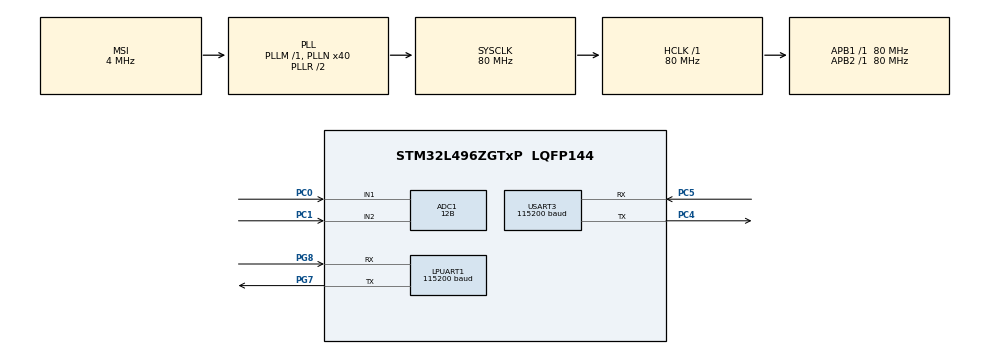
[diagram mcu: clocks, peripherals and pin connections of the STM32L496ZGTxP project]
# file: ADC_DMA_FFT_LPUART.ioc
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ADC1.Channel-0\#ChannelRegularConversion=ADC_CHANNEL_1
ADC1.Channel-1\#ChannelRegularConversion=ADC_CHANNEL_2
ADC1.ClockPrescaler=ADC_CLOCK_ASYNC_DIV1
ADC1.ContinuousConvMode=ENABLE
ADC1.DMAContinuousRequests=ENABLE
ADC1.DataAlign=ADC_DATAALIGN_RIGHT
ADC1.DiscontinuousConvMode=DISABLE
ADC1.EOCSelection=ADC_EOC_SINGLE_CONV
ADC1.EnableAnalogWatchDog1=false
ADC1.EnableAnalogWatchDog2=false
ADC1.EnableAnalogWatchDog3=false
ADC1.EnableInjectedConversion=DISABLE
ADC1.EnableRegularConversion=ENABLE
ADC1.ExternalTrigConv=ADC_SOFTWARE_START
ADC1.ExternalTrigConvEdge=ADC_EXTERNALTRIGCONVEDGE_NONE
ADC1.LowPowerAutoWait=DISABLE
ADC1.NbrOfConversion=2
ADC1.NbrOfConversionFlag=1
ADC1.OffsetNumber-0\#ChannelRegularConversion=ADC_OFFSET_NONE
ADC1.OffsetNumber-1\#ChannelRegularConversion=ADC_OFFSET_NONE
ADC1.Overrun=ADC_OVR_DATA_PRESERVED
ADC1.OversamplingMode=DISABLE
ADC1.Rank-0\#ChannelRegularConversion=1
ADC1.Rank-1\#ChannelRegularConversion=2
ADC1.Resolution=ADC_RESOLUTION_12B
ADC1.SamplingTime-0\#ChannelRegularConversion=ADC_SAMPLETIME_12CYCLES_5
ADC1.SamplingTime-1\#ChannelRegularConversion=ADC_SAMPLETIME_12CYCLES_5
ADC1.ScanConvMode=ADC_SCAN_ENABLE
ADC1.master=1
Dma.ADC1.0.Direction=DMA_PERIPH_TO_MEMORY
Dma.ADC1.0.Instance=DMA1_Channel1
Dma.ADC1.0.MemDataAlignment=DMA_MDATAALIGN_WORD
Dma.ADC1.0.MemInc=DMA_MINC_ENABLE
Dma.ADC1.0.Mode=DMA_CIRCULAR
Dma.ADC1.0.PeriphDataAlignment=DMA_PDATAALIGN_WORD
Dma.ADC1.0.PeriphInc=DMA_PINC_DISABLE
Dma.ADC1.0.Priority=DMA_PRIORITY_HIGH
Dma.Request0=ADC1
LPUART1.BaudRate=115200
LPUART1.WordLength=UART_WORDLENGTH_8B
Mcu.Family=STM32L4
Mcu.Name=STM32L496ZGTxP
Mcu.Package=LQFP144
NVIC.DMA1_Channel1_IRQn=true\:0\:0\:false\:false\:true\:false
NVIC.LPUART1_IRQn=true\:1\:0\:true\:false\:true\:true
NVIC.PriorityGroup=NVIC_PRIORITYGROUP_4
NVIC.TIM3_IRQn=true\:0\:0\:false\:false\:true\:true
NVIC.USART3_IRQn=true\:2\:0\:true\:false\:true\:true
PA13\ (JTMS/SWDIO).Mode=Serial_Wire
PA13\ (JTMS/SWDIO).Signal=SYS_JTMS-SWDIO
PA14\ (JTCK/SWCLK).Mode=Serial_Wire
PA14\ (JTCK/SWCLK).Signal=SYS_JTCK-SWCLK
PC0.Signal=ADCx_IN1
PC1.Signal=ADCx_IN2
PC4.Mode=Asynchronous
PC4.Signal=USART3_TX
PC5.Mode=Asynchronous
PC5.Signal=USART3_RX
PG7.Mode=Asynchronous
PG7.Signal=LPUART1_TX
PG8.Mode=Asynchronous
PG8.Signal=LPUART1_RX
ProjectManager.HeapSize=0x200
ProjectManager.StackSize=0x400
ProjectManager.TargetToolchain=MDK-ARM V5
RCC.ADCFreq_Value=32000000
RCC.AHBFreq_Value=80000000
RCC.APB1Freq_Value=80000000
RCC.APB1TimFreq_Value=80000000
RCC.APB2Freq_Value=80000000
RCC.APB2TimFreq_Value=80000000
RCC.CortexFreq_Value=80000000
RCC.HCLKFreq_Value=80000000
RCC.HSE_VALUE=8000000
RCC.HSI48_VALUE=48000000
RCC.HSI_VALUE=16000000
RCC.LSE_VALUE=32768
RCC.MSI_VALUE=4000000
RCC.PLLN=40
RCC.PLLSAI1N=16
RCC.SYSCLKFreq_VALUE=80000000
RCC.SYSCLKSource=RCC_SYSCLKSOURCE_PLLCLK
RCC.USBFreq_Value=32000000
RCC.VCOOutputFreq_Value=160000000
SH.ADCx_IN1.0=ADC1_IN1,IN1-Single-Ended
SH.ADCx_IN2.0=ADC1_IN2,IN2-Single-Ended
TIM3.Period=2-1
TIM3.Prescaler=40000-1
USART3.BaudRate=115200
USART3.VirtualMode-Asynchronous=VM_ASYNC
VP_TIM3_VS_ClockSourceINT.Mode=Internal
board=custom

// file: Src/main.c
/**
  ******************************************************************************
  * @file           : main.c
  * @brief          : Main program body
  ******************************************************************************
  ** This notice applies to any and all portions of this file
  * that are not between comment pairs USER CODE BEGIN and
  * USER CODE END. Other portions of this file, whether
  * inserted by the user or by software development tools
  * are owned by their respective copyright owners.
  *
  * COPYRIGHT(c) 2019 STMicroelectronics
  *
  * Redistribution and use in source and binary forms, with or without modification,
  * are permitted provided that the following conditions are met:
  *   1. Redistributions of source code must retain the above copyright notice,
  *      this list of conditions and the following disclaimer.
  *   2. Redistributions in binary form must reproduce the above copyright notice,
  *      this list of conditions and the following disclaimer in the documentation
  *      and/or other materials provided with the distribution.
  *   3. Neither the name of STMicroelectronics nor the names of its contributors
  *      may be used to endorse or promote products derived from this software
  *      without specific prior written permission.
  *
  * THIS SOFTWARE IS PROVIDED BY THE COPYRIGHT HOLDERS AND CONTRIBUTORS "AS IS"
  * AND ANY EXPRESS OR IMPLIED WARRANTIES, INCLUDING, BUT NOT LIMITED TO, THE
  * IMPLIED WARRANTIES OF MERCHANTABILITY AND FITNESS FOR A PARTICULAR PURPOSE ARE
  * DISCLAIMED. IN NO EVENT SHALL THE COPYRIGHT HOLDER OR CONTRIBUTORS BE LIABLE
  * FOR ANY DIRECT, INDIRECT, INCIDENTAL, SPECIAL, EXEMPLARY, OR CONSEQUENTIAL
  * DAMAGES (INCLUDING, BUT NOT LIMITED TO, PROCUREMENT OF SUBSTITUTE GOODS OR
  * SERVICES; LOSS OF USE, DATA, OR PROFITS; OR BUSINESS INTERRUPTION) HOWEVER
  * CAUSED AND ON ANY THEORY OF LIABILITY, WHETHER IN CONTRACT, STRICT LIABILITY,
  * OR TORT (INCLUDING NEGLIGENCE OR OTHERWISE) ARISING IN ANY WAY OUT OF THE USE
  * OF THIS SOFTWARE, EVEN IF ADVISED OF THE POSSIBILITY OF SUCH DAMAGE.
  *
  ******************************************************************************
  */
#include "main.h"
#include "stm32l4xx_hal.h"
#include "adc.h"
#include "dma.h"
#include "usart.h"
#include "tim.h"
#include "gpio.h"

/* USER CODE BEGIN Includes */
#include "fft.h"
#include "stm32l4xx_nucleo_144.h"
#include "loranode.h"
/* USER CODE END Includes */

/* USER CODE BEGIN PV */
/* Private variables ---------------------------------------------------------*/

/* USER CODE END PV */

void SystemClock_Config(void);

/* USER CODE BEGIN PFP */

/* Private function prototypes -----------------------------------------------*/
int fputc(int ch, FILE *f)
{
  HAL_UART_Transmit(&hlpuart1, (uint8_t *)&ch, 1, 0xFFFF);
	//HAL_UART_Transmit_IT(&hlpuart1,(uint8_t *)&ch, 1);
  return ch;

}
/* USER CODE END PFP */

int main(void)
{
  /* USER CODE BEGIN 1 */
	int i = 0;
  /* USER CODE END 1 */

  /* MCU Configuration----------------------------------------------------------*/

  /* Reset of all peripherals, Initializes the Flash interface and the Systick. */
  HAL_Init();

  /* Configure the system clock */
  SystemClock_Config();

  /* Initialize all configured peripherals */
  MX_GPIO_Init();
  MX_DMA_Init();
  MX_LPUART1_UART_Init();
  MX_TIM3_Init();
  MX_ADC1_Init();
  MX_USART3_UART_Init();
  /* USER CODE BEGIN 2 */
	HAL_UART_Receive_IT(&hlpuart1,aRxBuffer1,1);		//使能一次串口接收中断
	HAL_UART_Receive_IT(&huart3,aRxBuffer2,1);		//使能一次串口接收中断
	HAL_ADC_Start_DMA(&hadc1, (uint32_t *)ADC_ConvertedValue,ADC_CONVERTED_DATA_BUFFER_SIZE);  //以DMA的方式开启ADC转换
	printf("hello!\n");
	BSP_PB_Init(BUTTON_KEY,BUTTON_MODE_GPIO);//蓝色按键
	HAL_Delay(500);
	//HAL_UART_Transmit(&huart3, (uint8_t *)usart3SendStr, strlen(usart3SendStr), 0xFFFF);
  /* USER CODE END 2 */

  /* Infinite loop */
  /* USER CODE BEGIN WHILE */
	/*用来判断LoRa节点的初始化*/
	while(1)
	{
		/*如果串口3一帧数据接收完成*/
		if(__HAL_UART_GET_FLAG(&huart3,UART_FLAG_IDLE)!=RESET)
		{
			__HAL_UART_CLEAR_IDLEFLAG(&huart3);
			if(saveRxBuffer2[0]!=0)
			{
				printf("Form UART3:\r\n%s",saveRxBuffer2);
				//如果是刚刚上电的初始化信息
				if(strcmp(saveRxBuffer2,"Initialization OK!\r\n")==0)
				{
					/*发送join请求，请求入网*/
					HAL_UART_Transmit(&huart3,(uint8_t *)"at+join=otaa\r\n",strlen("at+join=otaa\r\n"),0xffff);
					printf("获得初始化信息，已发送join请求\r\n");
					joinOrSend = 'j';	//表明刚刚发送的是join
					/*清空串口3的缓冲区----因为遇到break之后，break后面程序的不会在执行*/
					memset(saveRxBuffer2,0,sizeof(saveRxBuffer2));
					bufferLength2 = 0;
					break;
				}
				/*清空串口3的缓冲区*/
				memset(saveRxBuffer2,0,sizeof(saveRxBuffer2));
				bufferLength2 = 0;
			}
		}
	}
  while (1)
  {
		/*如果串口1一帧数据接收完成*/
		if(__HAL_UART_GET_FLAG(&hlpuart1,UART_FLAG_IDLE)!=RESET)
		{
			__HAL_UART_CLEAR_IDLEFLAG(&hlpuart1);		//清除串口1空闲中断标志位
			if(saveRxBuffer1[0]!=0)
			{
				printf("From LPUART1:\r\n%s",saveRxBuffer1);		//把收到的信息通过串口1打印出来
				//HAL_UART_Transmit(&huart3,(uint8_t *)saveRxBuffer1,strlen(saveRxBuffer1),0xFFFF);	//把串口1收到的信息通过串口3发送出去
				//HAL_UART_Transmit_IT(&hlpuart1,(uint8_t *)saveRxBuffer1,strlen(saveRxBuffer1));
				//HAL_Delay(100);

				/*清空串口1的缓冲区*/
				memset(saveRxBuffer1,0,sizeof(saveRxBuffer1));
				bufferLength1 = 0;
			}
		}
		/*如果串口3一帧数据接收完成*/
		 else if(__HAL_UART_GET_FLAG(&huart3,UART_FLAG_IDLE)!=RESET)
		{
			__HAL_UART_CLEAR_IDLEFLAG(&huart3);
			if(saveRxBuffer2[0]!=0)
			{
				printf("Form UART3:\r\n%s",saveRxBuffer2);
				//根据字符串的信息进行处理
				node_UartReturn(saveRxBuffer2);
				/*清空串口3的缓冲区*/
				memset(saveRxBuffer2,0,sizeof(saveRxBuffer2));
				bufferLength2 = 0;
			}
		}

		/*按键按下 开始进行采样并计算----如果允许采样和计算*/
		if(/*HAL_GPIO_ReadPin(GPIOC, GPIO_PIN_13)==1*/enableSample_FFT==1)
		{
			//开启定时器，让ADC采集数据
			HAL_TIM_Base_Start_IT(&htim3);
			while(enableFFTState == 0)	//等待ADC采集数据结束
			{
				HAL_Delay(1);
			}
			//采集数据完毕，在FFT计算的时候关闭定时器，防止采样序列被重新赋值
			HAL_TIM_Base_Stop_IT(&htim3);
			/*FFT开始*/
			FFT_Operate();
			/*FFT结束*/
					//打印相关信息
//				printf("CH1:");
//				getMaxArr(fft_outputbuf1);
//				printf("CH2:");
//				getMaxArr(fft_outputbuf2);

//				for(i = 0; i<FFT_LENGTH;i++)
//				{
//					printf("%f\n",fft_outputbuf1[i]);
//				//	printf("%d		\n",ADC_ConvertedValue[1]);
//				}
				//printf("=====================================================\n");
//				for(i = 0; i<FFT_LENGTH;i++)
//				{
//					printf("%d\n",ADC_ConvertedDate2[i]);
//				}
				//处理FFT之后的数据：获取最大值、获得相位
				processFFtArr(fft_outputbuf1);

				enableFFTState = 0;
	  }
  /* USER CODE END WHILE */

  }

}

void SystemClock_Config(void)
{

  RCC_OscInitTypeDef RCC_OscInitStruct;
  RCC_ClkInitTypeDef RCC_ClkInitStruct;
  RCC_PeriphCLKInitTypeDef PeriphClkInit;

    /**Initializes the CPU, AHB and APB busses clocks
    */
  RCC_OscInitStruct.OscillatorType = RCC_OSCILLATORTYPE_MSI;
  RCC_OscInitStruct.MSIState = RCC_MSI_ON;
  RCC_OscInitStruct.MSICalibrationValue = 0;
  RCC_OscInitStruct.MSIClockRange = RCC_MSIRANGE_6;
  RCC_OscInitStruct.PLL.PLLState = RCC_PLL_ON;
  RCC_OscInitStruct.PLL.PLLSource = RCC_PLLSOURCE_MSI;
  RCC_OscInitStruct.PLL.PLLM = 1;
  RCC_OscInitStruct.PLL.PLLN = 40;
  RCC_OscInitStruct.PLL.PLLP = RCC_PLLP_DIV2;
  RCC_OscInitStruct.PLL.PLLQ = RCC_PLLQ_DIV2;
  RCC_OscInitStruct.PLL.PLLR = RCC_PLLR_DIV2;
  if (HAL_RCC_OscConfig(&RCC_OscInitStruct) != HAL_OK)
  {
    _Error_Handler(__FILE__, __LINE__);
  }

    /**Initializes the CPU, AHB and APB busses clocks
    */
  RCC_ClkInitStruct.ClockType = RCC_CLOCKTYPE_HCLK|RCC_CLOCKTYPE_SYSCLK
                              |RCC_CLOCKTYPE_PCLK1|RCC_CLOCKTYPE_PCLK2;
  RCC_ClkInitStruct.SYSCLKSource = RCC_SYSCLKSOURCE_PLLCLK;
  RCC_ClkInitStruct.AHBCLKDivider = RCC_SYSCLK_DIV1;
  RCC_ClkInitStruct.APB1CLKDivider = RCC_HCLK_DIV1;
  RCC_ClkInitStruct.APB2CLKDivider = RCC_HCLK_DIV1;

  if (HAL_RCC_ClockConfig(&RCC_ClkInitStruct, FLASH_LATENCY_4) != HAL_OK)
  {
    _Error_Handler(__FILE__, __LINE__);
  }

  PeriphClkInit.PeriphClockSelection = RCC_PERIPHCLK_USART3|RCC_PERIPHCLK_LPUART1
                              |RCC_PERIPHCLK_ADC;
  PeriphClkInit.Usart3ClockSelection = RCC_USART3CLKSOURCE_PCLK1;
  PeriphClkInit.Lpuart1ClockSelection = RCC_LPUART1CLKSOURCE_PCLK1;
  PeriphClkInit.AdcClockSelection = RCC_ADCCLKSOURCE_PLLSAI1;
  PeriphClkInit.PLLSAI1.PLLSAI1Source = RCC_PLLSOURCE_MSI;
  PeriphClkInit.PLLSAI1.PLLSAI1M = 1;
  PeriphClkInit.PLLSAI1.PLLSAI1N = 16;
  PeriphClkInit.PLLSAI1.PLLSAI1P = RCC_PLLP_DIV2;
  PeriphClkInit.PLLSAI1.PLLSAI1Q = RCC_PLLQ_DIV2;
  PeriphClkInit.PLLSAI1.PLLSAI1R = RCC_PLLR_DIV2;
  PeriphClkInit.PLLSAI1.PLLSAI1ClockOut = RCC_PLLSAI1_ADC1CLK;
  if (HAL_RCCEx_PeriphCLKConfig(&PeriphClkInit) != HAL_OK)
  {
    _Error_Handler(__FILE__, __LINE__);
  }

    /**Configure the main internal regulator output voltage
    */
  if (HAL_PWREx_ControlVoltageScaling(PWR_REGULATOR_VOLTAGE_SCALE1) != HAL_OK)
  {
    _Error_Handler(__FILE__, __LINE__);
  }

    /**Configure the Systick interrupt time
    */
  HAL_SYSTICK_Config(HAL_RCC_GetHCLKFreq()/1000);

    /**Configure the Systick
    */
  HAL_SYSTICK_CLKSourceConfig(SYSTICK_CLKSOURCE_HCLK);

  /* SysTick_IRQn interrupt configuration */
  HAL_NVIC_SetPriority(SysTick_IRQn, 0, 0);
}

void _Error_Handler(char *file, int line)
{
  while(1)
  {
  }
}

/************************ (C) COPYRIGHT STMicroelectronics *****END OF FILE****/
